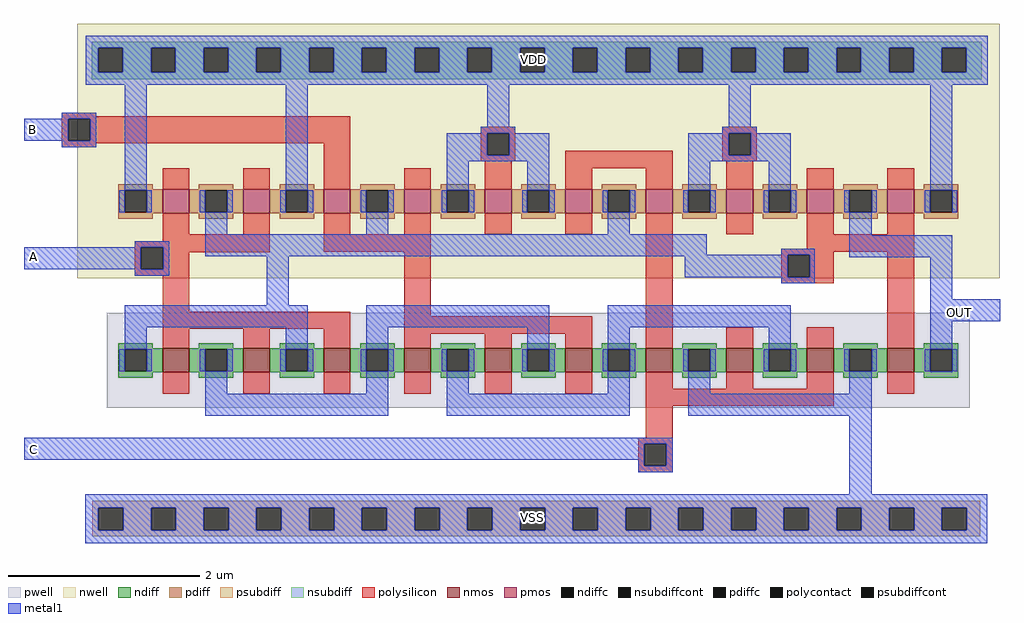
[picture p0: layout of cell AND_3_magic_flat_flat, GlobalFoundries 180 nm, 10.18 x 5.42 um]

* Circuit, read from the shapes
.subckt AND_3_magic_flat_flat B C OUT VDD VSS A
XM1 n1 A n2 VSS nfet_03v3 w=0.25u l=0.28u m=3
XM2 n3 B n1 VSS nfet_03v3 w=0.25u l=0.28u m=3
XM3 VSS C n3 VSS nfet_03v3 w=0.25u l=0.28u m=3
XM4 OUT n2 VSS VSS nfet_03v3 w=0.25u l=0.28u
XM5 n2 A VDD VDD pfet_03v3 w=0.25u l=0.28u m=2
XM6 n2 B VDD VDD pfet_03v3 w=0.25u l=0.28u m=2
XM7 VDD VDD VDD VDD pfet_03v3 w=0.25u l=0.28u m=2
XM8 n2 C VDD VDD pfet_03v3 w=0.25u l=0.28u m=2
XM9 OUT n2 VDD VDD pfet_03v3 w=0.25u l=0.28u m=2
.ends

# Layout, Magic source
magic
tech gf180mcuC
magscale 1 10
<< nwell >>
rect 0 0 1924 531
<< pwell >>
rect 62 -270 1862 -72
<< nmos >>
rect 178 -196 234 -146
rect 346 -196 402 -146
rect 514 -196 570 -146
rect 682 -196 738 -146
rect 850 -196 906 -146
rect 1018 -196 1074 -146
rect 1186 -196 1242 -146
rect 1354 -196 1410 -146
rect 1522 -196 1578 -146
rect 1690 -196 1746 -146
<< pmos >>
rect 178 136 234 186
rect 346 136 402 186
rect 514 136 570 186
rect 682 136 738 186
rect 850 136 906 186
rect 1018 136 1074 186
rect 1186 136 1242 186
rect 1354 136 1410 186
rect 1522 136 1578 186
rect 1690 136 1746 186
<< ndiff >>
rect 86 -146 158 -135
rect 254 -146 326 -135
rect 422 -146 494 -135
rect 590 -146 662 -135
rect 758 -146 830 -135
rect 926 -146 998 -135
rect 1094 -146 1166 -135
rect 1262 -146 1334 -135
rect 1430 -146 1502 -135
rect 1598 -146 1670 -135
rect 1766 -146 1838 -135
rect 86 -148 178 -146
rect 86 -194 99 -148
rect 145 -194 178 -148
rect 86 -196 178 -194
rect 234 -148 346 -146
rect 234 -194 267 -148
rect 313 -194 346 -148
rect 234 -196 346 -194
rect 402 -148 514 -146
rect 402 -194 435 -148
rect 481 -194 514 -148
rect 402 -196 514 -194
rect 570 -148 682 -146
rect 570 -194 603 -148
rect 649 -194 682 -148
rect 570 -196 682 -194
rect 738 -148 850 -146
rect 738 -194 771 -148
rect 817 -194 850 -148
rect 738 -196 850 -194
rect 906 -148 1018 -146
rect 906 -194 939 -148
rect 985 -194 1018 -148
rect 906 -196 1018 -194
rect 1074 -148 1186 -146
rect 1074 -194 1107 -148
rect 1153 -194 1186 -148
rect 1074 -196 1186 -194
rect 1242 -148 1354 -146
rect 1242 -194 1275 -148
rect 1321 -194 1354 -148
rect 1242 -196 1354 -194
rect 1410 -148 1522 -146
rect 1410 -194 1443 -148
rect 1489 -194 1522 -148
rect 1410 -196 1522 -194
rect 1578 -148 1690 -146
rect 1578 -194 1611 -148
rect 1657 -194 1690 -148
rect 1578 -196 1690 -194
rect 1746 -148 1838 -146
rect 1746 -194 1779 -148
rect 1825 -194 1838 -148
rect 1746 -196 1838 -194
rect 86 -207 158 -196
rect 254 -207 326 -196
rect 422 -207 494 -196
rect 590 -207 662 -196
rect 758 -207 830 -196
rect 926 -207 998 -196
rect 1094 -207 1166 -196
rect 1262 -207 1334 -196
rect 1430 -207 1502 -196
rect 1598 -207 1670 -196
rect 1766 -207 1838 -196
<< pdiff >>
rect 86 186 158 197
rect 254 186 326 197
rect 422 186 494 197
rect 590 186 662 197
rect 758 186 830 197
rect 926 186 998 197
rect 1094 186 1166 197
rect 1262 186 1334 197
rect 1430 186 1502 197
rect 1598 186 1670 197
rect 1766 186 1838 197
rect 86 184 178 186
rect 86 138 99 184
rect 145 138 178 184
rect 86 136 178 138
rect 234 184 346 186
rect 234 138 267 184
rect 313 138 346 184
rect 234 136 346 138
rect 402 184 514 186
rect 402 138 435 184
rect 481 138 514 184
rect 402 136 514 138
rect 570 184 682 186
rect 570 138 603 184
rect 649 138 682 184
rect 570 136 682 138
rect 738 184 850 186
rect 738 138 771 184
rect 817 138 850 184
rect 738 136 850 138
rect 906 184 1018 186
rect 906 138 939 184
rect 985 138 1018 184
rect 906 136 1018 138
rect 1074 184 1186 186
rect 1074 138 1107 184
rect 1153 138 1186 184
rect 1074 136 1186 138
rect 1242 184 1354 186
rect 1242 138 1275 184
rect 1321 138 1354 184
rect 1242 136 1354 138
rect 1410 184 1522 186
rect 1410 138 1443 184
rect 1489 138 1522 184
rect 1410 136 1522 138
rect 1578 184 1690 186
rect 1578 138 1611 184
rect 1657 138 1690 184
rect 1578 136 1690 138
rect 1746 184 1838 186
rect 1746 138 1779 184
rect 1825 138 1838 184
rect 1746 136 1838 138
rect 86 125 158 136
rect 254 125 326 136
rect 422 125 494 136
rect 590 125 662 136
rect 758 125 830 136
rect 926 125 998 136
rect 1094 125 1166 136
rect 1262 125 1334 136
rect 1430 125 1502 136
rect 1598 125 1670 136
rect 1766 125 1838 136
<< ndiffc >>
rect 99 -194 145 -148
rect 267 -194 313 -148
rect 435 -194 481 -148
rect 603 -194 649 -148
rect 771 -194 817 -148
rect 939 -194 985 -148
rect 1107 -194 1153 -148
rect 1275 -194 1321 -148
rect 1443 -194 1489 -148
rect 1611 -194 1657 -148
rect 1779 -194 1825 -148
<< pdiffc >>
rect 99 138 145 184
rect 267 138 313 184
rect 435 138 481 184
rect 603 138 649 184
rect 771 138 817 184
rect 939 138 985 184
rect 1107 138 1153 184
rect 1275 138 1321 184
rect 1443 138 1489 184
rect 1611 138 1657 184
rect 1779 138 1825 184
<< psubdiff >>
rect 31 -478 1884 -464
rect 31 -525 44 -478
rect 96 -525 154 -478
rect 206 -525 264 -478
rect 316 -525 374 -478
rect 426 -525 484 -478
rect 536 -525 594 -478
rect 646 -525 704 -478
rect 756 -525 814 -478
rect 866 -525 924 -478
rect 976 -525 1034 -478
rect 1086 -525 1144 -478
rect 1196 -525 1254 -478
rect 1306 -525 1364 -478
rect 1416 -525 1474 -478
rect 1526 -525 1584 -478
rect 1636 -525 1694 -478
rect 1746 -525 1804 -478
rect 1856 -525 1884 -478
rect 31 -538 1884 -525
<< nsubdiff >>
rect 30 481 1887 494
rect 30 430 44 481
rect 95 430 154 481
rect 205 430 264 481
rect 315 430 374 481
rect 425 430 484 481
rect 535 430 594 481
rect 645 430 704 481
rect 755 430 814 481
rect 865 430 924 481
rect 975 430 1034 481
rect 1085 430 1144 481
rect 1195 430 1254 481
rect 1305 430 1364 481
rect 1415 430 1474 481
rect 1525 430 1584 481
rect 1635 430 1694 481
rect 1745 430 1804 481
rect 1855 430 1887 481
rect 30 416 1887 430
<< psubdiffcont >>
rect 44 -525 96 -478
rect 154 -525 206 -478
rect 264 -525 316 -478
rect 374 -525 426 -478
rect 484 -525 536 -478
rect 594 -525 646 -478
rect 704 -525 756 -478
rect 814 -525 866 -478
rect 924 -525 976 -478
rect 1034 -525 1086 -478
rect 1144 -525 1196 -478
rect 1254 -525 1306 -478
rect 1364 -525 1416 -478
rect 1474 -525 1526 -478
rect 1584 -525 1636 -478
rect 1694 -525 1746 -478
rect 1804 -525 1856 -478
<< nsubdiffcont >>
rect 44 430 95 481
rect 154 430 205 481
rect 264 430 315 481
rect 374 430 425 481
rect 484 430 535 481
rect 594 430 645 481
rect 704 430 755 481
rect 814 430 865 481
rect 924 430 975 481
rect 1034 430 1085 481
rect 1144 430 1195 481
rect 1254 430 1305 481
rect 1364 430 1415 481
rect 1474 430 1525 481
rect 1584 430 1635 481
rect 1694 430 1745 481
rect 1804 430 1855 481
<< polysilicon >>
rect -32 338 40 346
rect -32 333 570 338
rect -32 287 -19 333
rect 27 287 570 333
rect -32 282 570 287
rect -32 274 40 282
rect 178 186 234 230
rect 346 186 402 230
rect 514 186 570 282
rect 842 303 914 316
rect 842 257 855 303
rect 901 257 914 303
rect 1346 303 1418 316
rect 842 244 914 257
rect 682 186 738 230
rect 850 186 906 244
rect 1018 230 1242 266
rect 1346 257 1359 303
rect 1405 257 1418 303
rect 1346 244 1418 257
rect 1018 186 1074 230
rect 1186 186 1242 230
rect 1354 186 1410 244
rect 1522 186 1578 230
rect 1690 186 1746 230
rect 178 92 234 136
rect 346 92 402 136
rect 178 78 402 92
rect 120 65 402 78
rect 120 19 133 65
rect 179 55 402 65
rect 514 92 570 136
rect 682 92 738 136
rect 850 92 906 136
rect 1018 92 1074 136
rect 514 56 738 92
rect 179 19 234 55
rect 120 6 234 19
rect 178 -69 234 6
rect 178 -105 570 -69
rect 178 -146 234 -105
rect 346 -146 402 -105
rect 514 -146 570 -105
rect 682 -79 738 56
rect 682 -115 1074 -79
rect 682 -146 738 -115
rect 850 -146 906 -115
rect 1018 -146 1074 -115
rect 1186 -146 1242 136
rect 1354 92 1410 136
rect 1522 92 1578 136
rect 1690 92 1746 136
rect 1522 62 1746 92
rect 1469 56 1746 62
rect 1469 49 1578 56
rect 1469 3 1482 49
rect 1528 3 1578 49
rect 1469 -10 1578 3
rect 1354 -146 1410 -102
rect 1522 -146 1578 -102
rect 1690 -146 1746 56
rect 178 -240 234 -196
rect 346 -240 402 -196
rect 514 -240 570 -196
rect 682 -240 738 -196
rect 850 -240 906 -196
rect 1018 -240 1074 -196
rect 1186 -230 1242 -196
rect 1354 -230 1410 -196
rect 1522 -230 1578 -196
rect 1186 -266 1578 -230
rect 1690 -240 1746 -196
rect 1186 -332 1242 -266
rect 1170 -345 1242 -332
rect 1170 -391 1183 -345
rect 1229 -391 1242 -345
rect 1170 -404 1242 -391
<< polycontact >>
rect -19 287 27 333
rect 855 257 901 303
rect 1359 257 1405 303
rect 133 19 179 65
rect 1482 3 1528 49
rect 1183 -391 1229 -345
<< metal1 >>
rect 18 481 1899 506
rect 18 430 44 481
rect 95 430 154 481
rect 205 430 264 481
rect 315 430 374 481
rect 425 430 484 481
rect 535 430 594 481
rect 645 430 704 481
rect 755 430 814 481
rect 865 430 924 481
rect 975 430 1034 481
rect 1085 430 1144 481
rect 1195 430 1254 481
rect 1305 430 1364 481
rect 1415 430 1474 481
rect 1525 430 1584 481
rect 1635 430 1694 481
rect 1745 430 1804 481
rect 1855 430 1899 481
rect 18 404 1899 430
rect -32 333 40 346
rect -111 287 -19 333
rect 27 287 40 333
rect -32 274 40 287
rect 99 184 145 404
rect 435 184 481 404
rect 855 316 901 404
rect 1359 316 1405 404
rect 842 303 914 316
rect 1346 303 1418 316
rect 771 257 855 303
rect 901 257 985 303
rect 771 244 985 257
rect 771 184 817 244
rect 939 184 985 244
rect 1275 257 1359 303
rect 1405 257 1489 303
rect 1275 244 1489 257
rect 1275 184 1321 244
rect 1443 184 1489 244
rect 1779 184 1825 404
rect 88 138 99 184
rect 145 138 156 184
rect 256 138 267 184
rect 313 138 324 184
rect 424 138 435 184
rect 481 138 492 184
rect 592 138 603 184
rect 649 138 660 184
rect 760 138 771 184
rect 817 138 828 184
rect 928 138 939 184
rect 985 138 996 184
rect 1096 138 1107 184
rect 1153 138 1164 184
rect 1264 138 1275 184
rect 1321 138 1332 184
rect 1432 138 1443 184
rect 1489 138 1500 184
rect 1600 138 1611 184
rect 1657 138 1668 184
rect 1768 138 1779 184
rect 1825 138 1836 184
rect 267 92 313 138
rect 603 92 649 138
rect 1107 92 1153 138
rect 120 65 192 78
rect -111 19 133 65
rect 179 19 192 65
rect 267 49 1313 92
rect 1611 90 1657 138
rect 1469 49 1539 62
rect 267 46 1482 49
rect 120 6 192 19
rect 395 -56 441 46
rect 1267 3 1482 46
rect 1528 3 1539 49
rect 1611 44 1825 90
rect 1469 -10 1539 3
rect 1779 -43 1825 44
rect 99 -102 481 -56
rect 99 -148 145 -102
rect 435 -148 481 -102
rect 603 -102 985 -56
rect 603 -148 649 -102
rect 939 -148 985 -102
rect 1107 -102 1489 -56
rect 1107 -148 1153 -102
rect 1443 -148 1489 -102
rect 1779 -89 1925 -43
rect 1779 -148 1825 -89
rect 88 -194 99 -148
rect 145 -194 156 -148
rect 256 -194 267 -148
rect 313 -194 324 -148
rect 424 -194 435 -148
rect 481 -194 492 -148
rect 592 -194 603 -148
rect 649 -194 660 -148
rect 760 -194 771 -148
rect 817 -194 828 -148
rect 928 -194 939 -148
rect 985 -194 996 -148
rect 1096 -194 1107 -148
rect 1153 -194 1164 -148
rect 1264 -194 1275 -148
rect 1321 -194 1332 -148
rect 1432 -194 1443 -148
rect 1489 -194 1500 -148
rect 1600 -194 1611 -148
rect 1657 -194 1668 -148
rect 1768 -194 1779 -148
rect 1825 -194 1836 -148
rect 267 -240 313 -194
rect 603 -240 649 -194
rect 267 -286 649 -240
rect 771 -240 817 -194
rect 1107 -240 1153 -194
rect 771 -286 1153 -240
rect 1275 -240 1321 -194
rect 1611 -240 1657 -194
rect 1779 -196 1825 -194
rect 1275 -286 1657 -240
rect -111 -345 1242 -332
rect -111 -378 1183 -345
rect 1170 -391 1183 -378
rect 1229 -391 1242 -345
rect 1170 -404 1242 -391
rect 1611 -450 1657 -286
rect 17 -478 1898 -450
rect 17 -525 44 -478
rect 96 -525 154 -478
rect 206 -525 264 -478
rect 316 -525 374 -478
rect 426 -525 484 -478
rect 536 -525 594 -478
rect 646 -525 704 -478
rect 756 -525 814 -478
rect 866 -525 924 -478
rect 976 -525 1034 -478
rect 1086 -525 1144 -478
rect 1196 -525 1254 -478
rect 1306 -525 1364 -478
rect 1416 -525 1474 -478
rect 1526 -525 1584 -478
rect 1636 -525 1694 -478
rect 1746 -525 1804 -478
rect 1856 -525 1898 -478
rect 17 -552 1898 -525
<< labels >>
flabel metal1 -94 311 -94 311 0 FreeSans 480 0 0 0 B
port 0 nsew
flabel metal1 1841 -70 1841 -70 0 FreeSans 480 0 0 0 OUT
port 6 nsew
flabel nsubdiffcont 951 457 951 457 0 FreeSans 480 0 0 0 VDD
port 7 nsew
flabel metal1 -92 -356 -92 -356 0 FreeSans 480 0 0 0 C
port 4 nsew
flabel psubdiffcont 949 -498 949 -498 0 FreeSans 480 0 0 0 VSS
port 9 nsew
flabel metal1 -91 45 -91 45 0 FreeSans 480 0 0 0 A
port 10 nsew
<< end >>
